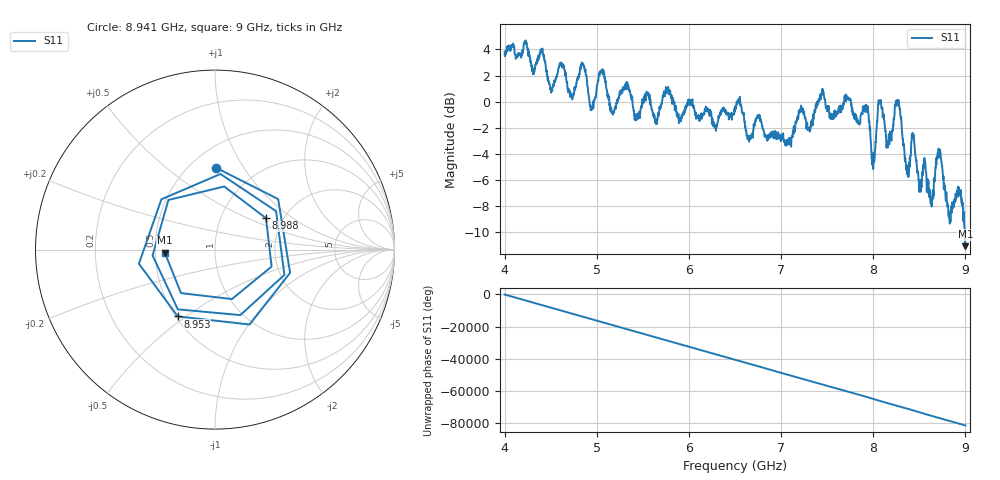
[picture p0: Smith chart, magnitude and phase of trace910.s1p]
! Created with skrf 1.8.0 (http://scikit-rf.org).
# Hz S RI R 50.0
!freq ReS11 ImS11
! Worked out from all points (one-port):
!   1601 points, 4 GHz to 9 GHz, reference 50 ohm
!   lowest |S11| = -11.0 dB at 9 GHz (marker M1), VSWR 1.78, Z = 28.1 - j1.05 ohm
!   |S11| at or under -10 dB: 8.991985 GHz to end of sweep
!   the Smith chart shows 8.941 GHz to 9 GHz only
!   S11 on the Smith chart (normalised r, x): 8.941 GHz: 0.66, +0.76; 8.953 GHz: 0.51, -0.47; 8.988 GHz: 1.64, +0.64; 9 GHz: 0.56, -0.02
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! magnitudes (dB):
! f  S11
! 4 GHz  3.8
! 4.406 GHz  3.9
! 4.509 GHz  0.8
! 4.625 GHz  2.8
! 4.728 GHz  0.5
! 4.853 GHz  2.9
! 4.944 GHz  -0.5
! 5.05 GHz  2.3
! 5.162 GHz  -0.9
! 5.25 GHz  0.8
! 5.875 GHz  -1.1
! 6.5 GHz  -0.4
! 7.125 GHz  -2.7
! 7.75 GHz  0.1
! 7.925 GHz  -0.3
! 8 GHz  -5.2
! 8.072 GHz  0.0
! 8.166 GHz  -3.2
! 8.266 GHz  0.1
! 8.375 GHz  -4.9
! 8.438 GHz  -2.7
! 8.631 GHz  -7.6
! 8.716 GHz  -3.7
! 8.822 GHz  -8.4
! 8.941 GHz  -6.8
! 8.953 GHz  -7.4
! 8.988 GHz  -9.5
! 9 GHz  -11.0
